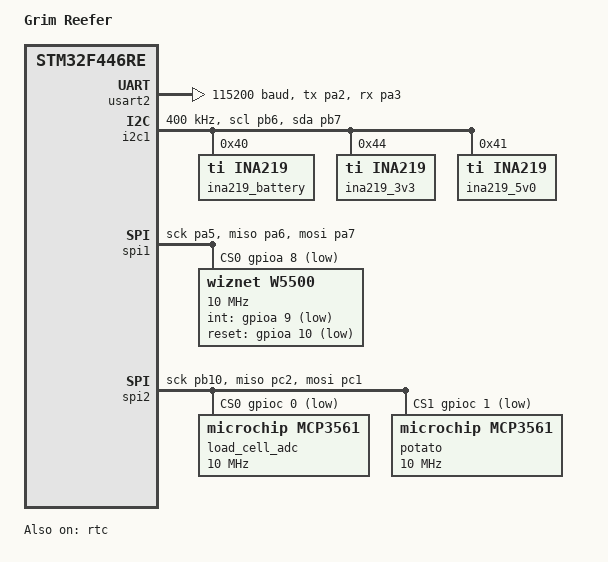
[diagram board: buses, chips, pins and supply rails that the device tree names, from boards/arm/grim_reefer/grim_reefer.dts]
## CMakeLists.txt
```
set(BOARD grim_reefer)
set(BOARD_ROOT ${CMAKE_CURRENT_SOURCE_DIR})

cmake_minimum_required(VERSION 3.13.1)
find_package(Zephyr REQUIRED HINTS $ENV{ZEPHYR_BASE})

project(grim-reefer LANGUAGES C)

FILE(GLOB sources src/*.c)
target_sources(app PRIVATE ${sources})
```

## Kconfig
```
# Copyright (c) 2021 Nordic Semiconductor ASA
# SPDX-License-Identifier: Apache-2.0
#
# This file is the application Kconfig entry point. All application Kconfig
# options can be defined here or included via other application Kconfig files.
# You can browse these options using the west targets menuconfig (terminal) or
# guiconfig (GUI).

menu "Zephyr"
source "Kconfig.zephyr"
endmenu


menuconfig ORCHESTRATOR_SHELL
	bool "Enable Orchestration Commands"
	default y



module = APP_GRIM_REEFER
module-str = APP_GRIM_REEFER
source "subsys/logging/Kconfig.template.log_config"
```

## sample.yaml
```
sample:
  description:
  name: grim_reefer 
common:
  build_only: true
  integration_platforms:
    - grim_reefer
tests:
  app.default: {}
  app.debug:
    extra_overlay_confs:
      - debug.conf
```

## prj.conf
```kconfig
# Copyright (c) 2024 Launch Initiative
# SPDX-License-Identifier: Apache-2.0
#
# This file contains selected Kconfig options for the application.
CONFIG_DEBUG=y

CONFIG_LOG=y
CONFIG_APP_GRIM_REEFER_LOG_LEVEL_WRN=y
CONFIG_SPEED_OPTIMIZATIONS=y
CONFIG_THREAD_RUNTIME_STATS=y
# Needed for data dumping
CONFIG_SHELL=y
CONFIG_FLASH_SHELL=y

CONFIG_SMF=y
CONFIG_EVENTS=y
CONFIG_BASE64=y

# Random
CONFIG_TEST_RANDOM_GENERATOR=y

# GPIO for LEDS and enable lines
CONFIG_GPIO=y
CONFIG_SPI=y
CONFIG_I2C=y

# Sensor Enables
CONFIG_ADC=y
CONFIG_MCP356X=y
CONFIG_LSM6DSL=y
CONFIG_BME280=y
CONFIG_INA260=y

CONFIG_SPI_STM32_DMA=y

# Sensor Configuration 

# BME280 (closely follows 'gaming mode' in data sheet)
CONFIG_BME280_STANDBY_05MS=y
CONFIG_BME280_PRESS_OVER_16X=y

CONFIG_BME280_TEMP_OVER_1X=y
CONFIG_BME280_HUMIDITY_OVER_1X=y

# LSM6DSL - 1660Hz for both accel and gyro
CONFIG_LSM6DSL_ACCEL_ODR=8
CONFIG_LSM6DSL_GYRO_ODR=8

# 16g scale. 2000 dps 
CONFIG_LSM6DSL_ACCEL_FS=16
CONFIG_LSM6DSL_GYRO_FS=2000

# Serial for data dumping
CONFIG_SERIAL=y
CONFIG_UART_INTERRUPT_DRIVEN=y
CONFIG_CBPRINTF_FP_SUPPORT=y

# Filesystem
CONFIG_SPI_NOR_SFDP_RUNTIME=y
CONFIG_FLASH=y
CONFIG_FLASH_MAP=y
CONFIG_FLASH_PAGE_LAYOUT=y
CONFIG_DISK_ACCESS=y
CONFIG_FILE_SYSTEM=y
CONFIG_FILE_SYSTEM_LITTLEFS=y

CONFIG_FS_LITTLEFS_FMP_DEV=y

CONFIG_FS_LITTLEFS_NUM_FILES=6
CONFIG_FS_LITTLEFS_CACHE_SIZE=4096
CONFIG_FS_LITTLEFS_LOOKAHEAD_SIZE=128

# needed for file system shell
CONFIG_HEAP_MEM_POOL_SIZE=4096
CONFIG_MAIN_STACK_SIZE=2048
```

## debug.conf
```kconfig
# Copyright (c) 2021 Nordic Semiconductor ASA
# SPDX-License-Identifier: Apache-2.0
#
# This is a Kconfig fragment which can be used to enable debug-related options
# in the application. See the README for more details.

# compiler
# CONFIG_DEBUG_OPTIMIZATIONS=y
# CONFIG_DEBUG_THREAD_INFO=y
CONFIG_THREAD_RUNTIME_STATS=y


# console
CONFIG_CONSOLE=y

# UART console
CONFIG_SERIAL=y
CONFIG_UART_CONSOLE=y




CONFIG_SENSOR_SHELL=y
CONFIG_GPIO_SHELL=y
CONFIG_I2C_SHELL=y
CONFIG_FILE_SYSTEM_SHELL=y
CONFIG_HEAP_MEM_POOL_SIZE=4096
CONFIG_SHELL_STACK_SIZE=8192

# logging
CONFIG_LOG=y
CONFIG_APP_GRIM_REEFER_LOG_LEVEL_DBG=y
CONFIG_LOG_MODE_IMMEDIATE=y
```

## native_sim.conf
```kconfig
# logging
CONFIG_LOG=y
# CONFIG_APP_GRIM_REEFER_LOG_LEVEL_DBG=y

CONFIG_UART_NATIVE_POSIX=y
CONFIG_FLASH_SIMULATOR=y


CONFIG_MPU_ALLOW_FLASH_WRITE=y

CONFIG_FLASH=y
CONFIG_FLASH_MAP=y
CONFIG_FLASH_PAGE_LAYOUT=y
CONFIG_DISK_ACCESS=y
CONFIG_FILE_SYSTEM=y
CONFIG_FILE_SYSTEM_LITTLEFS=y
CONFIG_FS_LITTLEFS_FMP_DEV=y

CONFIG_FLASH=y


CONFIG_HEAP_MEM_POOL_SIZE=16384

# CONFIG_SHELL=y
# CONFIG_SHELL_LOG_LEVEL_INF=y
```

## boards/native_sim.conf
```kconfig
# logging
CONFIG_LOG=y
# CONFIG_APP_GRIM_REEFER_LOG_LEVEL_DBG=y

CONFIG_UART_NATIVE_POSIX=y
CONFIG_FLASH_SIMULATOR=y

CONFIG_GPIO=y
CONFIG_GPIO_SHELL=y

CONFIG_MPU_ALLOW_FLASH_WRITE=y

CONFIG_FLASH=y
CONFIG_FLASH_MAP=y
CONFIG_FLASH_PAGE_LAYOUT=y
CONFIG_DISK_ACCESS=y
CONFIG_FILE_SYSTEM=y
CONFIG_FILE_SYSTEM_LITTLEFS=y
CONFIG_FS_LITTLEFS_FMP_DEV=y

CONFIG_FLASH=y


CONFIG_HEAP_MEM_POOL_SIZE=16384

CONFIG_ASAN=y

# CONFIG_SHELL=y
# CONFIG_SHELL_LOG_LEVEL_INF=y
```

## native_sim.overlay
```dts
/ {
    aliases {
        // storage_flash: &external-flash;
    };

    fstab {
        compatible = "zephyr,fstab";
        lfs1: lfs1 {
            compatible = "zephyr,fstab,littlefs";
            mount-point = "/lfs";
            partition = <&storage_partition>;
            automount;

            // the binding reccomends defaults for these
            read-size = <16>;
            prog-size = <16>;
            cache-size = <64>; // may need to grow for optimization
            lookahead-size = <32>;
            block-cycles = <(90 * 1000)>;
            // the datasheet gives 100K P-E cycles
            // NOTE: this seems to default to 512 for the mounted filesystem
            // anyway
        };
    };

};


&flashcontroller0 {
    compatible = "zephyr,sim-flash";
    reg = <0x00000000 DT_SIZE_K(2048)>;

    #address-cells = <1>;
    #size-cells = <1>;
    erase-value = <0xff>;

    flash0: flash@0 {
        status = "okay";
        compatible = "soc-nv-flash";
        erase-block-size = <4096>;
        write-block-size = <1>;
        reg = <0x00000000 DT_SIZE_K(2048)>;

        partitions {
            compatible = "fixed-partitions";
            #address-cells = <1>;
            #size-cells = <1>;

            boot_partition: partition@0 {
                label = "mcuboot";
                reg = <0x00000000 0x0000C000>;
            };
            slot0_partition: partition@c000 {
                label = "image-0";
                reg = <0x0000C000 0x00069000>;
            };
            slot1_partition: partition@75000 {
                label = "image-1";
                reg = <0x00075000 0x00069000>;
            };
            scratch_partition: partition@de000 {
                label = "image-scratch";
                reg = <0x000de000 0x0001e000>;
            };
            storage_partition: partition@fc000 {
                label = "storage";
                reg = <0x000fc000 0x00004000>;
            };
        };
    };
};
```

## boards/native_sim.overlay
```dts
/ {
    aliases {
        storage = &flash0;
    };

    leds: leds {
        compatible = "gpio-leds";
        redled: redled{
            gpios = <&gpio0 0 GPIO_ACTIVE_HIGH>;
        };
        anotherled: anotherled{
            gpios = <&gpio0 1 GPIO_ACTIVE_HIGH>;
        };
    };

    control_gpios{
        compatible = "gpio-keys";
        ldo_enable: ldo-enable{
            gpios = <&gpio0 2 GPIO_ACTIVE_HIGH>;
            label = "Enable pin for LDO";
        };
        cam_enable: cam-enable{
            gpios = <&gpio0 3 GPIO_ACTIVE_HIGH>;
            label = "Enable pin for Cameras";

        };
    };

    fstab {
        compatible = "zephyr,fstab";
        lfs1: lfs1 {
            compatible = "zephyr,fstab,littlefs";
            mount-point = "/lfs";
            partition = <&external_storage_partition>;
            automount;

            // the binding reccomends defaults for these
            read-size = <16>;
            prog-size = <16>;
            cache-size = <64>; // may need to grow for optimization
            lookahead-size = <32>;
            block-cycles = <(90 * 1000)>;
            // the datasheet gives 100K P-E cycles
            // NOTE: this seems to default to 512 for the mounted filesystem
            // anyway
        };
    };

};


&flashcontroller0 {
    status = "okay";
    compatible = "zephyr,sim-flash";
    reg = <0x00000000 DT_SIZE_M(513)>;

    #address-cells = <1>;
    #size-cells = <1>;
    erase-value = <0xff>;

    flash0: flash@0 {
        status = "okay";
        compatible = "soc-nv-flash";
        erase-block-size = <4096>;
        write-block-size = <1>;
        reg = <0x00000000 DT_SIZE_M(513)>; // builtin stuff + external flash simulation

        partitions {
            compatible = "fixed-partitions";
            #address-cells = <1>;
            #size-cells = <1>;

            boot_partition: partition@0 {
                label = "mcuboot";
                reg = <0x00000000 0x0000C000>;
            };
            slot0_partition: partition@c000 {
                label = "image-0";
                reg = <0x0000C000 0x00069000>;
            };
            slot1_partition: partition@75000 {
                label = "image-1";
                reg = <0x00075000 0x00069000>;
            };
            scratch_partition: partition@de000 {
                label = "image-scratch";
                reg = <0x000de000 0x0001e000>;
            };
            external_storage_partition: partition@fc000 {
                label = "storage";
                reg = <0x000fc000 DT_SIZE_M(512)>;
            };
        };
    };
};
```

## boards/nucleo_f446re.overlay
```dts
/ {
    chosen {
        zephyr,console = &usart2;
        zephyr,shell-uart = &usart2;
    };

    aliases {
        led = &shield_led;
        storage = &w25q128;
        logfs = &lfs1;
    };

    leds: leds {
        compatible = "gpio-leds";
        redled: redled{
            gpios = <&gpioa 13 GPIO_ACTIVE_HIGH>;
        };
        anotherled: anotherled{
            gpios = <&gpioa 14 GPIO_ACTIVE_HIGH>;
        };
    };

    control_gpios{
        compatible = "gpio-keys";
        ldo_enable: ldo-enable{
            gpios = <&gpioc 14 GPIO_ACTIVE_HIGH>;
            label = "Enable pin for LDO";
        };
        cam_enable: cam-enable{
            gpios = <&gpioc 15 GPIO_ACTIVE_HIGH>;
            label = "Enable pin for Cameras";

        };
    };



    fstab {
        compatible = "zephyr,fstab";
        lfs1: lfs1 {
            compatible = "zephyr,fstab,littlefs";
            mount-point = "/lfs";
            partition = <&external_storage_partition>;
            automount;

            read-size = <16>;
            prog-size = <16>;
            cache-size = <1024>;
            lookahead-size = <32>;
            block-cycles = <(90 * 1000)>;
            // the datasheet gives 100K P-E cycles
            // NOTE: this seems to default to 512 for the mounted filesystem
            // anyway
        };
    };
};

&mikrobus_spi {
    w25q128: w25q128jv@1 {
        status = "okay";
        compatible = "jedec,spi-nor"; // conforms to JEDEC SFDP
        reg = <1>; // connected to to connector 1

        size = <DT_SIZE_M(128)>; // w25q128 - 128 MBit (S 11, p.75)
        jedec-id = [ ef 40 18  ]; // 0xef4018 (Table 8.1.1, p.22)
        spi-max-frequency = <(20 * 200000)>; // fR = 50 MHz (Table 9.6, p.65)
        // but sticking to 10 because 50 doesn't work on my hardware, at time of
        // writing

        has-dpd;
        // Power-down 0xB9 (S 8.2.21)
        t-enter-dpd = <(3 * 1000)>; // tDP = 3 us (Table 9.6, p.66)
        // Release Power-down 0xAB (S 8.2.22)
        t-exit-dpd = <(3 * 1000)>; // tRES1 = 3 us (Table 9.6, p.66)

        partitions {
            compatible = "fixed-partitions";
            #address-cells = <1>;
            #size-cells = <1>;

            external_storage_partition: partition@0 {
                label = "w25q-storage";
                reg = <0 DT_SIZE_M(16)>; // takes up the whole flash 128 mbit = 16 mbyte
            };
        };
    };
};
```

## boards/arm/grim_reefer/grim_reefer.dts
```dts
/*
 * Copyright (c) 2023 Aaron Chan
 *
 * SPDX-License-Identifier: Apache-2.0
 */

/dts-v1/;
#include <st/f4/stm32f446Xe.dtsi>
#include <st/f4/stm32f446r(c-e)tx-pinctrl.dtsi>
#include <zephyr/dt-bindings/input/input-event-codes.h>

/ {
	model = "Grim Reefer";
	compatible = "st,stm32f446re-nucleo";

	chosen {
		zephyr,console = &usart2;
		zephyr,shell-uart = &usart2;
		zephyr,sram = &sram0;
		zephyr,flash = &flash0;
	};

	leds: leds {
		compatible = "gpio-leds";
	};

	aliases {
		my-adc = &load_cell_adc;
	};


};

&clk_lsi {
	status = "okay";
};

&clk_hsi {
	clock-frequency = <DT_FREQ_M(16)>;
	status = "okay";
};

&pll {
	div-m = <8>;
	mul-n = <90>;
	div-p = <2>;
	clocks = <&clk_hsi>;
	status = "okay";
};

&rcc {
	clocks = <&pll>;
	clock-frequency = <DT_FREQ_M(45)>;
	ahb-prescaler = <2>;
	apb1-prescaler = <2>;
	apb2-prescaler = <1>;
};

// Modify when we finally get UART on REV2
&usart2 {
	pinctrl-0 = <&usart2_tx_pa2 &usart2_rx_pa3>;
	pinctrl-names = "default";
	current-speed = <115200>;
	status = "okay";
};
/*
&adc1 {
	//    pinctrl-0 = <&adc1_in4_pa4>;
	pinctrl-names = "default";
	st,adc-clock-source = <SYNC>;
	st,adc-prescaler = <2>;
	status = "okay";
	address-cells = <1>;
	size_cells = <0>;

	channel@4 {
		reg = <4>;
		zephyr,gain = "ADC_GAIN_1";
		zephyr,reference = "ADC_REF_INTERNAL";
		zephyr,acquisition-time = <ADC_ACQ_TIME_DEFAULT>;
		zephyr,resolution = <12>;
	};
};
 */

&i2c1 {
	pinctrl-0 = <&i2c1_scl_pb6 &i2c1_sda_pb7>;
	pinctrl-names = "default";
	status = "okay";
	clock-frequency = <I2C_BITRATE_FAST>;

	ina219_battery@40 {
		status = "okay";
		compatible = "ti,ina219";
		reg = <0x40>;
		brng = <0>;
		pg = <0>;
		sadc = <13>;
		badc = <13>;
		shunt-milliohm = <100>;
		lsb-microamp = <10>;
	};

	ina219_3v3@44 {
		status = "okay";
		compatible = "ti,ina219";
		reg = <0x44>;
		brng = <0>;
		pg = <0>;
		sadc = <13>;
		badc = <13>;
		shunt-milliohm = <100>;
		lsb-microamp = <10>;
	};

	ina219_5v0@41 {
		status = "okay";
		compatible = "ti,ina219";
		reg = <0x41>;
		brng = <0>;
		pg = <0>;
		sadc = <13>;
		badc = <13>;
		shunt-milliohm = <100>;
		lsb-microamp = <10>;
	};
};

&spi1 {
	pinctrl-0 = <&spi1_sck_pa5 &spi1_miso_pa6 &spi1_mosi_pa7>;
	cs-gpios = <&gpioa 8 GPIO_ACTIVE_LOW>;
	pinctrl-names = "default";
	status = "okay";

	w5500: w5500@0 {
		compatible = "wiznet,w5500";
		reg = <0x0>;
		spi-max-frequency = <10000000>;
		int-gpios = <&gpioa 9 GPIO_ACTIVE_LOW>;
		reset-gpios = <&gpioa 10 GPIO_ACTIVE_LOW>;
	};
};

&spi2 {
	pinctrl-0 = <&spi2_sck_pb10 &spi2_miso_pc2 &spi2_mosi_pc1>;
	cs-gpios = <&gpioc 0 GPIO_ACTIVE_LOW &gpioc 1 GPIO_ACTIVE_LOW>;
	pinctrl-names = "default";
	status = "okay";


	load_cell_adc: load_cell_adc@0 {
		compatible = "microchip,mcp3561";
		status = "okay";
		reg = <0x0>;
		osr = "OSR_32";
		prescale = "PRE_8";
		clock-selection = "CLK_INTERNAL";
		reference = "ADC_REF_INTERNAL";
		device-address = <1>;
		spi-max-frequency = <10000000>;
		#io-channel-cells = <1>;
		#address-cells = <1>;
		#size-cells = <0>;

		channel@0 {
			reg = <0>;
			zephyr,differential;
			zephyr,gain = "ADC_GAIN_1_6";
			zephyr,reference = "ADC_REF_INTERNAL";
			zephyr,acquisition-time = <ADC_ACQ_TIME(ADC_ACQ_TIME_MICROSECONDS, 1)>;
		};
	};

	potato: potato@1 {
		compatible = "microchip,mcp3561";
		status = "okay";
		reg = <0x1>;
		osr = "OSR_32";
		prescale = "PRE_8";
		clock-selection = "CLK_INTERNAL";
		reference = "ADC_REF_INTERNAL";
		device-address = <1>;
		spi-max-frequency = <10000000>;
		#io-channel-cells = <1>;
		#address-cells = <1>;
		#size-cells = <0>;

		channel@0 {
			reg = <0>;
			zephyr,differential;
			zephyr,gain = "ADC_GAIN_1_6";
			zephyr,reference = "ADC_REF_INTERNAL";
			zephyr,acquisition-time = <ADC_ACQ_TIME(ADC_ACQ_TIME_MICROSECONDS, 1)>;
		};
		channel@1 {
			reg = <1>;
			zephyr,differential;
			zephyr,gain = "ADC_GAIN_1_6";
			zephyr,reference = "ADC_REF_INTERNAL";
			zephyr,acquisition-time = <ADC_ACQ_TIME(ADC_ACQ_TIME_MICROSECONDS, 1)>;
		};
		channel@5 {
			reg = <5>;
			zephyr,gain = "ADC_GAIN_1_6";
			zephyr,reference = "ADC_REF_INTERNAL";
			zephyr,acquisition-time = <ADC_ACQ_TIME(ADC_ACQ_TIME_MICROSECONDS, 1)>;
		};

	};
};

&rtc {
	clocks = <&rcc STM32_CLOCK_BUS_APB1 0x10000000>,
	         <&rcc STM32_SRC_LSI RTC_SEL(2)>;
	status = "okay";
};

&backup_sram {
	status = "okay";
};

&flash0 {

	partitions {
		compatible = "fixed-partitions";
		#address-cells = <1>;
		#size-cells = <1>;

		boot_partition: partition@0 {
			label = "mcuboot";
			reg = <0x00000000 DT_SIZE_K(64)>;
			read-only;
		};

		/*
		 * The flash starting at 0x00010000 and ending at
		 * 0x0001ffff (sectors 16-31) is reserved for use
		 * by the application.
		 */
		storage_partition: partition@10000 {
			label = "storage";
			reg = <0x00010000 DT_SIZE_K(64)>;
		};

		slot0_partition: partition@20000 {
			label = "image-0";
			reg = <0x00020000 DT_SIZE_K(128)>;
		};
		slot1_partition: partition@40000 {
			label = "image-1";
			reg = <0x00040000 DT_SIZE_K(128)>;
		};
		scratch_partition: partition@60000 {
			label = "image-scratch";
			reg = <0x00060000 DT_SIZE_K(128)>;
		};
	};
};
```

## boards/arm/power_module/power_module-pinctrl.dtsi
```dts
/ {
	soc {
		pinctrl: pin-controller@40020000 {
            eth_cs_pa8: eth_cs_pa8 {
                pinmux = <STM32_PINMUX('A', 8, GPIO)>;
                bias-pull-up;
            };

            flash_cs_pc0: flash_cs_pc0 {
                pinmux = <STM32_PINMUX('C', 11, GPIO)>;
            };
        };
    };
};
```

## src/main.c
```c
/*
 * Copyright (c) 2023 RIT Launch Initiative
 *
 * SPDX-License-Identifier: Apache-2.0
 */

#include "boost_detect.h"
#include "buzzer.h"
#include "config.h"
#include "data_reading.h"
#include "data_storage.h"
#include "zephyr/toolchain.h"

#include <math.h>
#include <zephyr/devicetree.h>
#include <zephyr/drivers/adc.h>
#include <zephyr/drivers/gpio.h>
#include <zephyr/drivers/sensor.h>
#include <zephyr/kernel.h>
#include <zephyr/logging/log.h>
#include <zephyr/smf.h>


LOG_MODULE_REGISTER(main, CONFIG_APP_GRIM_REEFER_LOG_LEVEL);

// Device Tree Gets
#define LED1_NODE DT_NODELABEL(led1)
#define LED2_NODE DT_NODELABEL(led2)

const struct gpio_dt_spec led1 = GPIO_DT_SPEC_GET(LED1_NODE, gpios);
const struct gpio_dt_spec led2 = GPIO_DT_SPEC_GET(LED2_NODE, gpios);

#define LDO_EN_NODE DT_NODELABEL(ldo_enable)
#define CAM_EN_NODE DT_NODELABEL(cam_enable)

const struct gpio_dt_spec ldo_enable = GPIO_DT_SPEC_GET(LDO_EN_NODE, gpios);
const struct gpio_dt_spec cam_enable = GPIO_DT_SPEC_GET(CAM_EN_NODE, gpios);

#define BUZZER_NODE DT_NODELABEL(buzzer)
const struct gpio_dt_spec buzzer = GPIO_DT_SPEC_GET(BUZZER_NODE, gpios);

#define DBG_SERIAL_NODE DT_ALIAS(debug_serial)
const struct device *const debug_serial_dev = DEVICE_DT_GET(DBG_SERIAL_NODE);

#define BME280_NODE DT_NODELABEL(bme280)
const struct device *bme280_dev = DEVICE_DT_GET(BME280_NODE);

#define LSM6DSL_NODE DT_NODELABEL(lsm6dsl)
const struct device *lsm6dsl_dev = DEVICE_DT_GET(LSM6DSL_NODE);

#define FLASH_NODE DT_NODELABEL(w25q512)
const struct device *flash_dev = DEVICE_DT_GET(FLASH_NODE);

// Inas
#define INA_BAT_NODE DT_NODELABEL(ina260_battery)
const struct device *ina_bat_dev = DEVICE_DT_GET(INA_BAT_NODE);

#define INA_LDO_NODE DT_NODELABEL(ina260_ldo)
const struct device *ina_ldo_dev = DEVICE_DT_GET(INA_LDO_NODE);

#define INA_GRIM_NODE DT_NODELABEL(ina260_3v3)
const struct device *ina_grim_dev = DEVICE_DT_GET(INA_GRIM_NODE);

static const struct adc_dt_spec adc_chan0 = ADC_DT_SPEC_GET_BY_IDX(DT_PATH(zephyr_user), 0);

// Cannnot be statically initialized :(
struct data_devices data_devices = {0};

/**
 * Check if a gpio is ready or return a status code indicating that its not.
 * gpio: gpio_dt_spec
 * name: a string describing this pin. gpio_dt_spec only knows the name of its gpio controller device so make this a friendlier name
*/
#define CHECK_GPIO_OUTPUT(gpio, name)                                                                                  \
    if (!gpio_is_ready_dt(&gpio)) {                                                                                    \
        LOG_ERR("%s is not ready", name);                                                                              \
        return -ENODEV;                                                                                                \
    }                                                                                                                  \
    if (gpio_pin_configure_dt(&gpio, GPIO_OUTPUT_ACTIVE) < 0) {                                                        \
        LOG_ERR("Unable to configure %s output pin\n", name);                                                          \
        return -ENODEV;                                                                                                \
    }

/**
 * Check if a given device is ready. Returning -ENODEV if it's not
*/
#define CHECK_DEVICE_READY(dev)                                                                                        \
    if (!device_is_ready(dev)) {                                                                                       \
        LOG_ERR("Device %s is not ready.", dev->name);                                                                 \
        return -ENODEV;                                                                                                \
    }

/**
 * @brief Setup all the gpio pins needed for flight
 * @return -ENODEV if a GPIO couldnt be setup. 0 otherwise
 */
static int gpio_init(void) {
    // Init LEDS
    CHECK_GPIO_OUTPUT(led1, "led1");
    CHECK_GPIO_OUTPUT(led2, "led2");
    CHECK_GPIO_OUTPUT(ldo_enable, "ldo_enable");
    CHECK_GPIO_OUTPUT(cam_enable, "cam_enable");
    CHECK_GPIO_OUTPUT(buzzer, "buzzer");

    gpio_pin_set_dt(&led1, 0);
    gpio_pin_set_dt(&led2, 0);
    gpio_pin_set_dt(&ldo_enable, 1);
    gpio_pin_set_dt(&cam_enable, 0);
    gpio_pin_set_dt(&buzzer, 0);

    return 0;
}
/**
 * @brief Initialize flash and all sensors. Flash, bme280, adc, and inas
 * @return -EIO if flash is not found. -ENODEV if any sensor isn't ready. 0 if all ok 
 */
static int sensor_init(void) {
    const bool flash_found = device_is_ready(flash_dev);
    if (!flash_found) {
        return -EIO;
    }
    CHECK_DEVICE_READY(lsm6dsl_dev)
    CHECK_DEVICE_READY(bme280_dev)

    CHECK_DEVICE_READY(ina_bat_dev)
    CHECK_DEVICE_READY(ina_ldo_dev)
    CHECK_DEVICE_READY(ina_grim_dev)

    // ADC
    if (!adc_is_ready_dt(&adc_chan0)) {
        LOG_ERR("ADC controller device %s not ready\n", adc_chan0.dev->name);
        return -ENODEV;
    }
    int ret = adc_channel_setup_dt(&adc_chan0);
    if (ret < 0) {
        LOG_ERR("Could not setup ADC channel: %d\n", ret);
        return -ENODEV;
    }

    CHECK_DEVICE_READY(debug_serial_dev)

    return 0;
}

// Flight Phase
K_TIMER_DEFINE(flight_duration_timer, NULL, NULL);
K_TIMER_DEFINE(camera_extra_timer, NULL, NULL);
// State Machine Setup
enum flight_state { PAD_STATE, FLIGHT_STATE, LANDED_STATE };
const struct smf_state flight_states[];
struct {
    struct smf_ctx ctx;
    /* All User Defined Data Follows */
} s_obj;

extern bool flight_over;
bool flight_cancelled = false;

// On Pad, boost detecting
static void pad_state_entry(void *o) {
    LOG_INF("On Pad");
    start_boost_detect(lsm6dsl_dev, bme280_dev, ina_bat_dev);
}
static void pad_state_run(void *o) {
    if (get_boost_detected()) {
        smf_set_state(SMF_CTX(&s_obj), &flight_states[FLIGHT_STATE]);
    }
}
static void pad_state_exit(void *o) { stop_boost_detect(); }

// In flight, data sampling
static void flight_state_entry(void *o) {
    LOG_INF("Flight Started");
    // Turn on Cameras and ADC
    gpio_pin_set_dt(&ldo_enable, 1);
    gpio_pin_set_dt(&cam_enable, 1);
    buzzer_tell(buzzer_cond_launched);
    k_timer_start(&flight_duration_timer, TOTAL_FLIGHT_TIME, K_NO_WAIT);
    start_data_reading(&data_devices);

    save_boost_data();
}
static void flight_state_run(void *o) {
    k_timer_status_sync(&flight_duration_timer);
    smf_set_state(SMF_CTX(&s_obj), &flight_states[LANDED_STATE]);
}
static void flight_state_exit(void *o) {
    flight_over = true;
    stop_data_reading();
}

// Landed, saving files and waiting for cameras
static void landed_state_entry(void *o) {
    // Stop logging, start saving
    LOG_INF("Landed");
    k_timer_start(&camera_extra_timer, CAMERA_EXTRA_TIME, K_NO_WAIT);

    finish_data_storage();
    buzzer_tell(buzzer_cond_landed);
}
static void landed_state_run(void *o) {
    if (k_timer_status_get(&camera_extra_timer) > 0) {
        // timer has expired
        smf_set_terminate(SMF_CTX(&s_obj), 1);
    }
}
static void landed_state_exit(void *o) {}

void describe_flight() {
    printk("Config Parameters:\n");
#ifdef BUZZER_USE_LED
    printk("  Buzzer:                    LED\n");
#else
    printk("  Buzzer:                    Out Loud\n");
#endif
#ifdef SHORT_FLIGHT
    printk("  Flight Mode:               Short\n");
#else
    printk("  Flight Mode:               Full\n");
#endif

    printk("Boost Detect Parameters:\n");
#ifdef IMU_BOOST_DETECTION_MODE_AXIS
    printk("  Mode:                      %s\n", STRINGIFY(IMU_UP_AXIS));
#else
    printk("  Mode:                      Magnitude\n");
#endif
    printk("  Accelaration threshold:    %.2f G\n", (double) ACCEL_VAL_THRESHOLD / 9.81);
    printk("  Altitude threshold:        %.2f ft\n", ((double) ALTITUDE_VAL_THRESHOLD) * 3.28084);

    printk("  Accelaration buffer size:  %d\n", ACCEL_BUFFER_SIZE);
    printk("  Altitude buffer size:      %d\n", ALTITUDE_BUFFER_SIZE);
}

const struct smf_state flight_states[] = {
    [PAD_STATE] = SMF_CREATE_STATE(pad_state_entry, pad_state_run, pad_state_exit),
    [FLIGHT_STATE] = SMF_CREATE_STATE(flight_state_entry, flight_state_run, flight_state_exit),
    [LANDED_STATE] = SMF_CREATE_STATE(landed_state_entry, landed_state_run, landed_state_exit)};

int main(void) {

    if (gpio_init() != 0) {
        LOG_ERR("GPIO not setup. Continuing...\n");
        buzzer_tell(buzzer_cond_missing_sensors);
    }
    int ret = sensor_init();
    if (ret == -EIO) {
        LOG_ERR("Flash is not functional");
        buzzer_tell(buzzer_cond_noflash);
    } else if (ret == -ENODEV) {
        LOG_ERR("Some sensors not functional");
        buzzer_tell(buzzer_cond_missing_sensors);
    }

    describe_flight();

    data_devices.fast.imu = lsm6dsl_dev;
    data_devices.fast.altim = bme280_dev;
    data_devices.slow.altim = bme280_dev;
    data_devices.slow.ina_adc = ina_ldo_dev;
    data_devices.slow.ina_bat = ina_bat_dev;
    data_devices.slow.ina_grim = ina_grim_dev;
    data_devices.chan = &adc_chan0;

#ifdef BUZZER_USE_LED
    begin_buzzer_thread(&led1);
#else
    begin_buzzer_thread(&buzzer);
#endif

    if (start_data_storage_thread() != 0) {
        LOG_ERR("Failed to initialize data storage. FATAL ERROR\n");
        buzzer_tell(buzzer_cond_noflash);
    }

    // Begin State machine
    smf_set_initial(SMF_CTX(&s_obj), &flight_states[PAD_STATE]);
    while (1) {
        /* State machine terminates if a non-zero value is returned */
        if (flight_cancelled) {
            smf_set_terminate(SMF_CTX(&s_obj), 1);
        }
        int ret = smf_run_state(SMF_CTX(&s_obj));
        if (ret) {
            /* handle return code and terminate state machine */
            LOG_INF("smf return code: %d", ret);
            break;
        }
        k_msleep(1);
    }
    LOG_INF("Shutoff Cameras");
    gpio_pin_set_dt(&cam_enable, 0);
    printk("Its all over\n");
    return 0;
}
```

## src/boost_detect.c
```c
#include "boost_detect.h"

#include "buzzer.h"
#include "config.h"
#include "data_storage.h"

#include <zephyr/fs/fs.h>
// Launch Core Includes
#include <launch_core/conversions.h>
#include <launch_core/dev/dev_common.h>
#include <launch_core/types.h>

// Zephyr Includes
#include <zephyr/drivers/sensor.h>
#include <zephyr/kernel.h>
#include <zephyr/logging/log.h>
LOG_MODULE_REGISTER(boost_detect, CONFIG_APP_GRIM_REEFER_LOG_LEVEL);

// Forward Declares
static void altitude_boost_reading_task(void);
static void accel_boost_reading_task(void);
static void battery_read_task(void);

// Timers
K_TIMER_DEFINE(altitude_boost_detect_timer, NULL, NULL);
K_TIMER_DEFINE(accel_boost_detect_timer, NULL, NULL);
K_TIMER_DEFINE(battery_timer, NULL, NULL);

// Events
#define BEGIN_BOOST_DETECT_EVENT 2
K_EVENT_DEFINE(begin_boost_detect);

// Threads
K_THREAD_DEFINE(altimeter_boost_thread, 1024, altitude_boost_reading_task, NULL, NULL, NULL, BOOST_DETECT_ALT_PRIORITY,
                0, THREAD_START_DELAY);
K_THREAD_DEFINE(accel_boost_thread, 1024, accel_boost_reading_task, NULL, NULL, NULL, BOOST_DETECT_IMU_PRIORITY, 0,
                THREAD_START_DELAY);
K_THREAD_DEFINE(battery_thread, 1024, battery_read_task, NULL, NULL, NULL, BOOST_DETECT_IMU_PRIORITY, 0,
                THREAD_START_DELAY);

volatile bool boost_detected = false;
extern bool flight_cancelled;
// Rolling buffers

struct fast_data accel_buffer[ACCEL_BUFFER_SIZE] = {0};
int accel_buffer_index = 0;
float accel_running_sum = {0.0};

struct altitude_data {
    uint32_t timestamp;
    l_barometer_data_t barom;
};

struct altitude_data altitude_buffer[ALTITUDE_BUFFER_SIZE] = {0};
int altitude_buffer_index;

static int read_channel_to_float(const struct device* dev, enum sensor_channel chan, float* fval) {
    struct sensor_value val = {0};
    int ret = sensor_channel_get(dev, chan, &val);
    float v = sensor_value_to_float(&val);
    *fval = v;
    return ret;
}
double l_altitude_conversion(double pressure_kpa, double temperature_c) {
    double pressure = pressure_kpa * 10;
    double altitude = (1 - pow(pressure / 1013.25, 0.190284)) * 145366.45 * 0.3048;
    return altitude;
}

static void altitude_boost_reading_task(void) {
    struct altitude_data data = {0};

    k_event_wait(&begin_boost_detect, BEGIN_BOOST_DETECT_EVENT, false, K_FOREVER);
    while (true) {
        k_timer_status_sync(&altitude_boost_detect_timer);
        if (boost_detected || flight_cancelled) {
            break;
        }
        const struct device* altimeter_dev = (const struct device*) k_timer_user_data_get(&altitude_boost_detect_timer);

        if (altimeter_dev == NULL) {
            LOG_ERR("No altitude device given to detect launch with, %p", altimeter_dev);
            continue;
        }
        // Read Sensor
        sensor_sample_fetch(altimeter_dev);
        float press = 0;
        float temp = 0;
        read_channel_to_float(altimeter_dev, SENSOR_CHAN_PRESS, &press);
        read_channel_to_float(altimeter_dev, SENSOR_CHAN_AMBIENT_TEMP, &temp);
        data.barom.pressure = press;
        data.barom.temperature = temp;
        data.timestamp = k_uptime_get();
        // Write to buffer
        struct altitude_data oldest = altitude_buffer[altitude_buffer_index];
        altitude_buffer[altitude_buffer_index] = data;
        altitude_buffer_index = (altitude_buffer_index + 1) % ARRAY_SIZE(altitude_buffer);
        // Do altitude calcs
        if (oldest.timestamp == 0) {
            // these checks are invalid if the comparison value is uninitialized
            continue;
        }
        double old_alt = l_altitude_conversion(oldest.barom.pressure, oldest.barom.temperature);
        double alt = l_altitude_conversion(press, temp);
        if (fabs(alt - old_alt) > ALTITUDE_VAL_THRESHOLD) {
            LOG_INF("Altitude Boost Detect");
            boost_detected = true;
            break;
        }
    }
}

#define MAG_SQRED(v) (v.accel_x * v.accel_x + v.accel_y * v.accel_y + v.accel_z * v.accel_z)

static void accel_boost_reading_task(void) {

    struct fast_data data = {0};

    k_event_wait(&begin_boost_detect, BEGIN_BOOST_DETECT_EVENT, false, K_FOREVER);
    while (true) {
        k_timer_status_sync(&accel_boost_detect_timer);
        if (boost_detected || flight_cancelled) {
            break;
        }
        const struct device* imu_dev = (const struct device*) k_timer_user_data_get(&accel_boost_detect_timer);

        if (imu_dev == NULL) {
            LOG_ERR("No IMU device given to detect launch with, %p", imu_dev);
            continue;
        }
        // Read sensor
        sensor_sample_fetch(imu_dev);
        float x, y, z = 0;
        read_channel_to_float(imu_dev, SENSOR_CHAN_ACCEL_X, &x);
        read_channel_to_float(imu_dev, SENSOR_CHAN_ACCEL_Y, &y);
        read_channel_to_float(imu_dev, SENSOR_CHAN_ACCEL_Z, &z);
        data.acc.accel_x = x;
        data.acc.accel_y = y;
        data.acc.accel_z = z;

        read_channel_to_float(imu_dev, SENSOR_CHAN_GYRO_X, &x);
        read_channel_to_float(imu_dev, SENSOR_CHAN_GYRO_Y, &y);
        read_channel_to_float(imu_dev, SENSOR_CHAN_GYRO_Z, &z);
        data.gyro.gyro_x = x;
        data.gyro.gyro_y = y;
        data.gyro.gyro_z = z;

        data.timestamp = k_uptime_get();
        // Add to circular buffer
        struct fast_data oldest = accel_buffer[accel_buffer_index];
        accel_buffer[accel_buffer_index] = data;
        accel_buffer_index = (accel_buffer_index + 1) % ARRAY_SIZE(accel_buffer);

        // Do acceleration calcs

#ifdef IMU_BOOST_DETECTION_MODE_AXIS
        float reading = data.acc.IMU_UP_AXIS;
        float last_reading = oldest.acc.IMU_UP_AXIS;
        accel_running_sum -= last_reading;
        accel_running_sum += reading;
        float avg = accel_running_sum / ACCEL_BUFFER_SIZE;
        if (avg > ACCEL_VAL_THRESHOLD) {
            LOG_INF("Accel Boost Detect");
            boost_detected = true;
            break;
        }
#else
        float reading = MAG_SQRED(data.acc);
        float last_reading = MAG_SQRED(oldest.acc);
        accel_running_sum -= last_reading;
        accel_running_sum += reading;

        float avg = accel_running_sum / ACCEL_BUFFER_SIZE;
        if (avg > ACCEL_VAL_THRESHOLD * ACCEL_VAL_THRESHOLD) {
            LOG_INF("Accel Boost Detect");
            boost_detected = true;
            break;
        }
#endif
    }
}

static void battery_read_task(void) {
    k_event_wait(&begin_boost_detect, BEGIN_BOOST_DETECT_EVENT, false, K_FOREVER);
    const struct device* ina = k_timer_user_data_get(&battery_timer);
    int count_below = 0;
    while (!flight_cancelled && !boost_detected) {
        k_timer_status_sync(&battery_timer);
        sensor_sample_fetch(ina);
        float voltage = 0;
        read_channel_to_float(ina, SENSOR_CHAN_VOLTAGE, &voltage);

        if (voltage < (float) LOW_BATTERY_VOLTAGE) {
            count_below++;
        }

        if (count_below > 4) {
            buzzer_tell(buzzer_cond_low_battery);
            break;
        }
    }
}

void start_boost_detect(const struct device* imu, const struct device* altimeter, const struct device* battery_ina) {
    LOG_INF("Starting Boost Detection: %p, %p", imu, altimeter);

    k_timer_user_data_set(&accel_boost_detect_timer, (void*) imu);
    k_timer_user_data_set(&altitude_boost_detect_timer, (void*) altimeter);
    k_timer_user_data_set(&battery_timer, (void*) battery_ina);

    k_timer_start(&accel_boost_detect_timer, FAST_DATA_DELAY, FAST_DATA_DELAY);
    k_timer_start(&altitude_boost_detect_timer, ALTIM_DATA_DELAY, ALTIM_DATA_DELAY);
    k_timer_start(&battery_timer, K_SECONDS(1), K_SECONDS(1));

    k_event_set(&begin_boost_detect, BEGIN_BOOST_DETECT_EVENT);
}

void stop_boost_detect() {
    LOG_INF("Ending Boost Detection");
    k_timer_stop(&altitude_boost_detect_timer);
    k_timer_stop(&accel_boost_detect_timer);
    k_timer_stop(&battery_timer);
}

bool get_boost_detected() { return boost_detected; }

void save_full_buffer(uint8_t* data, size_t length, const char* filename) {
    struct fs_file_t file;
    fs_file_t_init(&file);
    int ret = fs_open(&file, filename, FS_O_WRITE | FS_O_CREATE);

    if (ret < 0) {
        LOG_ERR("Error opening %s. %d", filename, ret);
        return;
    }
    ret = fs_write(&file, data, length);
    if (ret < 0) {
        LOG_INF("Error writing %s", filename);
    }
    ret = fs_close(&file);
    if (ret < 0) {
        LOG_ERR("Failed to save adc file. %d", ret);
    }
    LOG_INF("Saved %s", filename);
}

void save_boost_data() {
    save_full_buffer((uint8_t*) accel_buffer, sizeof(accel_buffer), PRELAUNCH_ACCEL_FILENAME);
    save_full_buffer((uint8_t*) altitude_buffer, sizeof(altitude_buffer), PRELAUNCH_ALT_FILENAME);
}
```

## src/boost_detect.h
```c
#ifndef REEFER_INLCUDE_BOOST_DETECT_H
#define REEFER_INLCUDE_BOOST_DETECT_H

#include <zephyr/device.h>
/**
 * start_boost_detect
 * Tell the system to begin watching for launch
 * Detection parameters defined in config.h
 * @param imu the imu device to watch for the spike in acceleration
 * @param altimeter the altimeter device to watch for a fast change in height
*/
void start_boost_detect(const struct device* imu, const struct device* altimeter, const struct device* battery_ina);
/**
 * stop_boost_detect
 * Tell the system to stop watching for boost detection
 * Use this if boost has been detected or you wish to cancel launch detection
*/
void stop_boost_detect();

/**
 * get_boost_detected
 * @return true if the vehicle has launched
*/
bool get_boost_detected();

/**
 * Flush the launch detection buffers to disk
 * Filenames determined by config.h
*/
void save_boost_data();

#endif
```

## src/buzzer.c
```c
#include "buzzer.h"

#include <zephyr/device.h>
#include <zephyr/kernel.h>
#include <zephyr/logging/log.h>
LOG_MODULE_REGISTER(buzzer);

#define BUZZER_THREAD_STACK_SIZE 500
#define BUZZER_THREAD_PRIORITY   10

K_MSGQ_DEFINE(buzzer_msgq, sizeof(enum buzzer_cond), 10, 1);

void buzzer_entry_point(void *, void *, void *);

struct k_thread buzzer_thread_data;
K_THREAD_STACK_DEFINE(buzzer_stack_area, BUZZER_THREAD_STACK_SIZE);
void begin_buzzer_thread(const struct gpio_dt_spec *buzzer_pin) {
    k_tid_t tid =
        k_thread_create(&buzzer_thread_data, buzzer_stack_area, K_THREAD_STACK_SIZEOF(buzzer_stack_area),
                        buzzer_entry_point, (void *) buzzer_pin, NULL, NULL, BUZZER_THREAD_PRIORITY, 0, K_NO_WAIT);
    k_thread_name_set(tid, "buzzer");
}

void buzzer_tell(enum buzzer_cond cond) { k_msgq_put(&buzzer_msgq, &cond, K_MSEC(10)); }

/**
 * Each bit corresponds to 1/8th of a second. a 1 means the buzzer is going
 * and a 0 means the buzzer is silent
 * After a code is beeped out, it is followed by 2 seconds of silence to differentiate messages
*/

#define BEEPCODE_LENGTH 16
#define SILENCE_LENGTH  16

const uint16_t beepcodes[] = {
    [buzzer_cond_noflash] = 0b1010101010101010,         [buzzer_cond_low_battery] = 0b1100110011001100,
    [buzzer_cond_missing_sensors] = 0b1110001110001110, [buzzer_cond_landed] = 0b1111000011110000,
    [buzzer_cond_launched] = 0b1111111100000000,        [buzzer_cond_ok] = 0b1000000000000000,
};

void buzzer_entry_point(void *buzzer_gpio, void *, void *) {
    const struct gpio_dt_spec *buzzer = buzzer_gpio;
    uint32_t frame = 0;
    enum buzzer_cond current_cond = buzzer_cond_ok;
    uint16_t current_code = beepcodes[current_cond];

    while (true) {
        // Read new buzzer request
        enum buzzer_cond incoming;
        if (k_msgq_get(&buzzer_msgq, &incoming, K_NO_WAIT) == 0) {
            // New message - is it more important than the current?
            if (incoming < current_cond) {
                current_cond = incoming;
                current_code = beepcodes[current_cond];
                frame = 0;
            }
        }
        // Set buzzer according to beepcode
        if (frame < BEEPCODE_LENGTH) {
            int buzzer_state = (current_code >> frame) & 0b1;
            gpio_pin_set_dt(buzzer, buzzer_state);
        } else {
            gpio_pin_set_dt(buzzer, 0);
        }

        // Progress time and wrap around when needed
        frame++;
        if (frame == BEEPCODE_LENGTH + SILENCE_LENGTH) {
            frame = 0;
        }
        k_msleep(125);
    }
    return;
}
```

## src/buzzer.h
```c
#ifndef REEFER_INLCUDE_BUZZER_H
#define REEFER_INLCUDE_BUZZER_H

#include <zephyr/drivers/gpio.h>

// Closer to zero get precedence
// If you have missing sensors but low battery, the low battery beepcode will be announced
enum buzzer_cond {
    buzzer_cond_noflash = 0,
    buzzer_cond_low_battery = 1,
    buzzer_cond_missing_sensors = 2,
    buzzer_cond_landed = 3,
    buzzer_cond_launched = 4,
    buzzer_cond_ok = 5,

};

/**
 * @brief Signal to the buzzer that an event of interest has happened
 * @param cond the condition the user should be aware of. It will get 
 * beeped out if it is a higher precedence message than that which is 
 * already being beeped out 
 */
void buzzer_tell(enum buzzer_cond cond);
/**
 * @brief Begin the buzzer thread after gpio's have been setup
 * @param buzzer_pin the gpio pin that goes to the buzzer transistor
*/
void begin_buzzer_thread(const struct gpio_dt_spec *buzzer_pin);

#endif
```

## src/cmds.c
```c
#include "config.h"

#include <zephyr/fs/fs.h>
#include <zephyr/shell/shell.h>
#include <zephyr/sys/base64.h>

#ifdef CONFIG_SHELL

// read from file into this
#define B64_PER_LINE       (12 * 6)
#define READING_BUFFER_LEN B64_PER_LINE
uint8_t reading_data[READING_BUFFER_LEN];

// dump base64 data here before printing
#define DUMP_BUFFER_LEN (B64_PER_LINE * 8)
uint8_t dumping_data[DUMP_BUFFER_LEN + 1];

static int dump_base64(const struct shell *shell, const char *fname) {
    struct fs_file_t file;
    int ret;
    fs_file_t_init(&file);

    ret = fs_open(&file, fname, FS_O_READ);
    if (ret < 0) {
        shell_print(shell, "Failed to open %s: %d", fname, ret);
        return ret;
    }
    int read = READING_BUFFER_LEN;

    while (read == READING_BUFFER_LEN) {
        read = fs_read(&file, reading_data, READING_BUFFER_LEN);
        if (read < 0) {
            shell_print(shell, "Failed file read of %s", fname);
            return -1;
        }
        int num_written = 0;
        ret = base64_encode(dumping_data, DUMP_BUFFER_LEN, &num_written, reading_data, read);
        if (ret < 0) {
            shell_print(shell, "encoding error %d, num_written: %d, read: %d", ret, num_written, read);
            return ret;
        }
        dumping_data[DUMP_BUFFER_LEN] = 0; // null terminator
        shell_print(shell, "%s", dumping_data);
    }
    fs_close(&file);
    return 0;
}
#define SEPARATOR "********\n"
static int cmd_dump_file(const struct shell *shell, size_t argc, char **argv) {
    ARG_UNUSED(argc);
    ARG_UNUSED(argv);
    if (argc < 1) {
        shell_print(shell, "usage: grim dump filename: dump specific file");
        shell_print(shell, "usage: grim dump: dump all files");
        return -1;
    }
    // Dump All
    if (argc == 1) {
        dump_base64(shell, SLOW_FILENAME);
        shell_print(shell, SEPARATOR);
        dump_base64(shell, FAST_FILENAME);
        shell_print(shell, SEPARATOR);
        dump_base64(shell, ADC_FILENAME);
        shell_print(shell, SEPARATOR);
        dump_base64(shell, PRELAUNCH_ACCEL_FILENAME);
        shell_print(shell, SEPARATOR);
        dump_base64(shell, PRELAUNCH_ALT_FILENAME);
    }
    // Dump Specific
    if (argc > 1) {
        dump_base64(shell, argv[1]);
        return 0;
    }
    return 0;
}

extern bool flight_cancelled;

static int cmd_nogo(const struct shell *shell, size_t argc, char **argv) {
    ARG_UNUSED(argc);
    ARG_UNUSED(argv);

    flight_cancelled = true;

    return 0;
}

extern void describe_flight();

static int cmd_status(const struct shell *shell, size_t argc, char **argv) {
    ARG_UNUSED(argc);
    ARG_UNUSED(argv);

    describe_flight();

    return 0;
}

SHELL_STATIC_SUBCMD_SET_CREATE(grim_subcmds, SHELL_CMD(nogo, NULL, "Cancel launch detection", cmd_nogo),
                               SHELL_CMD(dump, NULL, "Dump  file.", cmd_dump_file),
                               SHELL_CMD(status, NULL, "Print flight information.", cmd_status), SHELL_SUBCMD_SET_END);

/* Creating root (level 0) command "demo" */
SHELL_CMD_REGISTER(grim, &grim_subcmds, "Grim Control Commands", NULL);

#endif
```

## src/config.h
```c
#ifndef REEFER_INCLUDE_CONFIG_H
#define REEFER_INCLUDE_CONFIG_H

#include <zephyr/kernel.h>

// Use buzzer or led for status
#define BUZZER_USE_LED

// Use short timers so you don't get bored
// #define SHORT_FLIGHT

// Use to .5 G for boost detect if directional
// doesnt effect non directional bc that can be shaken to trigger even at 5G
// #define EASY_BOOST_DETECT

// Level at which to warn low battery. in volts
#define LOW_BATTERY_VOLTAGE (4.1)

// If here, use 1 axis boost detection, if not use magnitude
// #define IMU_BOOST_DETECTION_MODE_AXIS
// which axis to use. accel_x, accel_y, accel_z
#define IMU_UP_AXIS accel_z

// Boost Detection
#define ALTITUDE_BUFFER_SIZE 500
// METERS (500 ft)
#define ALTITUDE_VAL_THRESHOLD 152.4

#define ACCEL_BUFFER_SIZE 110

// ============= YOU SHOULDNT HAVE TO CHANGE ANYTHING BELOW HERE =============

#ifdef EASY_BOOST_DETECT
#define ACCEL_VAL_THRESHOLD ((float) (9.81 * .5))
#else
#define ACCEL_VAL_THRESHOLD ((float) (9.81 * 5))
#endif

// Sensor Reading
#define ADC_DATA_DELAY   K_USEC(101) /// For some reason 100 locks up the shell
#define ALTIM_DATA_DELAY K_MSEC(10)
#define FAST_DATA_DELAY  K_MSEC(2)
#define SLOW_DATA_DELAY  K_MSEC(1000)

// Flight Timing
#ifdef SHORT_FLIGHT
#define TOTAL_FLIGHT_TIME K_SECONDS(20)
#define CAMERA_EXTRA_TIME K_SECONDS(5)
#else
#define TOTAL_FLIGHT_TIME K_SECONDS(400)
#define CAMERA_EXTRA_TIME K_MINUTES(12)
#endif

// Storage Thread
#define STORAGE_QUEUE_SIZE        150
#define STORAGE_THREAD_STACK_SIZE 2048
#define STORAGE_THREAD_PRIORITY   1

#define BOOST_DETECT_IMU_PRIORITY -1
#define BOOST_DETECT_ALT_PRIORITY -1

#define ADC_READ_PRIORITY  -1
#define FAST_READ_PRIORITY -1
#define SLOW_READ_PRIORITY -1

#define THREAD_START_DELAY 100

// FS Setup
#define ADC_FILENAME  "/lfs/adc.bin"
#define FAST_FILENAME "/lfs/fast.bin"
#define SLOW_FILENAME "/lfs/slow.bin"

#define PRELAUNCH_ACCEL_FILENAME "/lfs/pre_imu.bin"
#define PRELAUNCH_ALT_FILENAME   "/lfs/pre_altitude.bin"

#endif
```

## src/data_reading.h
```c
#ifndef REEFER_INLCUDE_DATA_READING_H
#define REEFER_INLCUDE_DATA_READING_H

#include <zephyr/device.h>
#include <zephyr/drivers/adc.h>

struct fast_devices {
    const struct device* imu;
    const struct device* altim;
};

struct slow_devices {
    const struct device* altim;
    const struct device* ina_bat;
    const struct device* ina_grim;
    const struct device* ina_adc;
};

struct data_devices {
    struct fast_devices fast;
    struct slow_devices slow;
    const struct adc_dt_spec* chan;
};

/**
 * start data reading
 * Tell the system to begin measuring data
 * @param devs the devices needed
 * @param altimeter the altimeter device to watch for a fast change in height
*/
void start_data_reading(const struct data_devices* devs);
/**
 * Tell the system to stop reading data
 */
void stop_data_reading();

#endif
```

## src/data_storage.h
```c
#ifndef REEFER_INLCUDE_DATA_STORAGE_H
#define REEFER_INLCUDE_DATA_STORAGE_H

#include <launch_core/types.h>
#include <stdint.h>
#include <zephyr/kernel.h>
struct slow_data {
    uint32_t timestamp;

    float humidity;
    float temperature;

    uint16_t grim_voltage; // LSB =  1.25 mV
    uint16_t grim_current; // LSB =  1.25 mA

    uint16_t load_cell_voltage; // LSB =  1.25 mV
    uint16_t load_cell_current; // LSB =  1.25 mA

    uint16_t bat_voltage; // LSB =  1.25 mV
    uint16_t bat_current; // LSB =  1.25 mA
};

struct fast_data {
    uint32_t timestamp;

    l_accelerometer_data_t acc;
    l_gyroscope_data_t gyro;
};

struct adc_data {
    uint32_t timestamp;
    uint32_t adc_value[10];
};

/**
 * @brief Open files, setup thread and get ready for data to start streaming in
 * @return 0 if setup correctly. -1 if not
 */
int start_data_storage_thread();
/**
 * @brief Stop accepting new data and save everything to disk
 */
void finish_data_storage();

#endif
```

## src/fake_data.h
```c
// Configs ==================
// lateral acc noise
// vertical acc noise
// altitude noise

// boot to liftoff time
// pre liftoff data (random generated?)

// post flight time (to see stuff turn off)
// post flight data (random generated?)

// Data ==================

// lateral acc - from test data
// vertical acc - from test data
// altitude - from test data
// all others, make up
```

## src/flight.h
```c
#ifndef REEFER_INLCUDE_FLIGHT_H
#define REEFER_INLCUDE_FLIGHT_H

#include <stdint.h>

enum flight_event {
    flight_event_boost,
    flight_event_noseover,
    flight_event_main_deploy,
    flight_event_landed,
    flight_event_shutoff,
};

#endif
```
